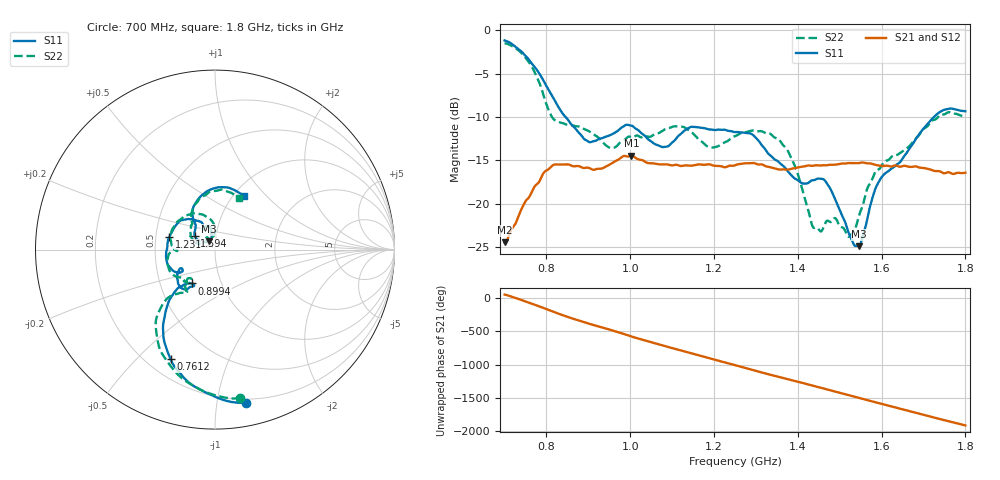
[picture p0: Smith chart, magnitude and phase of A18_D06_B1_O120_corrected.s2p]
! Created with skrf 1.9.0 (http://scikit-rf.org).
# Hz S RI R 50.0
!freq ReS11 ImS11 ReS21 ImS21 ReS12 ImS12 ReS22 ImS22
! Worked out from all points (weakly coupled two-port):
!   1601 points, 700 MHz to 1.8 GHz, reference 50 ohm
!   highest |S21| = -14.49 dB at 1.002 GHz (marker M1); lowest = -24.5 dB at 700.7 MHz (marker M2)
!   lowest |S11| = -24.9 dB at 1.546 GHz (marker M3), VSWR 1.12, Z = 46.5 + j4.23 ohm
!   |S11| at or under -10 dB: 845.2 MHz to 1.725 GHz (880 MHz wide, 68.5 % of centre)
!   |S22| runs from -23.8 to -1.5 dB; largest |S21 - S12| = 0.0035
!   S11 on the Smith chart (normalised r, x): 700 MHz: 0.17, -1.21; 761.2 MHz: 0.29, -0.63; 899.4 MHz: 0.72, -0.29; 1.231 GHz: 0.59, +0.09; 1.594 GHz: 0.79, +0.12; 1.8 GHz: 1.12, +0.76
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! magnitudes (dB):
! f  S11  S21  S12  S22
! 700 MHz  -1.2  -24.5  -24.3  -1.5
! 700.7 MHz  -1.2  -24.5  -24.2  -1.5
! 761.2 MHz  -3.6  -19.0  -18.9  -3.9
! 816.2 MHz  -7.8  -15.6  -15.6  -10.2
! 883.6 MHz  -12.2  -15.8  -15.7  -11.2
! 899.4 MHz  -12.8  -15.9  -15.9  -11.6
! 953.7 MHz  -12.1  -15.4  -15.4  -13.6
! 1.002 GHz  -11.0  -14.5  -14.6  -12.3
! 1.067 GHz  -13.3  -15.5  -15.4  -11.9
! 1.145 GHz  -11.2  -15.6  -15.6  -11.7
! 1.231 GHz  -11.6  -15.7  -15.7  -12.8
! 1.25 GHz  -11.8  -15.6  -15.5  -12.2
! 1.357 GHz  -15.3  -16.1  -16.0  -12.7
! 1.395 GHz  -17.2  -15.9  -15.9  -15.9
! 1.434 GHz  -17.3  -15.6  -15.6  -22.4
! 1.469 GHz  -17.6  -15.6  -15.6  -22.0
! 1.523 GHz  -23.6  -15.3  -15.3  -23.8
! 1.546 GHz  -24.9  -15.3  -15.3  -21.3
! 1.594 GHz  -17.4  -15.6  -15.6  -16.0
! 1.617 GHz  -16.2  -15.7  -15.6  -14.9
! 1.734 GHz  -9.6  -16.2  -16.3  -10.0
! 1.8 GHz  -9.4  -16.4  -16.4  -10.0
